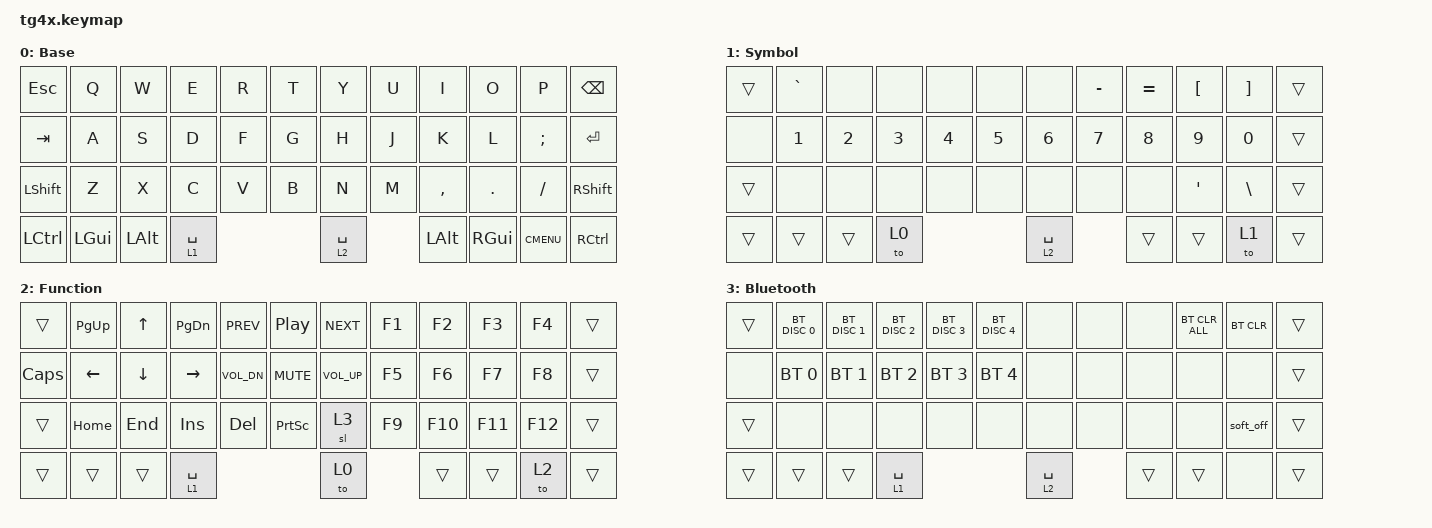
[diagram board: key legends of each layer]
/*
 * Copyright (c) 2020 The ZMK Contributors
 *
 * SPDX-License-Identifier: MIT
 */

#include <behaviors.dtsi>
#include <dt-bindings/zmk/keys.h>
#include <dt-bindings/zmk/bt.h>

/ {
    keymap {
        compatible = "zmk,keymap";

        default_layer { // Layer 0
            display-name = "Base";
            bindings = <
                &kp ESC   &kp Q        &kp W        &kp E        &kp R        &kp T        &kp Y        &kp U     &kp I     &kp O    &kp P       &kp BSPC
                &kp TAB   &kp A        &kp S        &kp D        &kp F        &kp G        &kp H        &kp J     &kp K     &kp L    &kp SEMI    &kp RET
                &kp LSHFT &kp Z        &kp X        &kp C        &kp V        &kp B        &kp N        &kp M     &kp COMMA &kp DOT  &kp SLASH   &kp RSHFT
                &kp LCTRL &kp LGUI     &kp LALT     &lt 1 SPACE                            &lt 2 SPACE            &kp LALT  &kp RGUI &kp K_CMENU &kp RCTRL
            >;
        };
        symbol { // Layer 1
            display-name = "Symbol";
            bindings = <
                &trans    &kp GRAVE    &none        &none        &none        &none        &none        &kp MINUS &kp EQUAL &kp LBKT &kp RBKT    &trans
                &none     &kp N1       &kp N2       &kp N3       &kp N4       &kp N5       &kp N6       &kp N7    &kp N8    &kp N9   &kp N0      &trans
                &trans    &none        &none        &none        &none        &none        &none        &none     &none     &kp APOS &kp BSLH    &trans
                &trans    &trans       &trans       &to 0                                  &lt 2 SPACE            &trans    &trans   &to 1       &trans
            >;
        };
        function { // Layer 2
            display-name = "Function";
            bindings = <
                &trans    &kp PG_UP    &kp UP       &kp PG_DN    &kp C_PREV   &kp C_PP     &kp C_NEXT   &kp F1    &kp F2    &kp F3   &kp F4      &trans
                &kp CAPS  &kp LEFT     &kp DOWN     &kp RIGHT    &kp C_VOL_DN &kp C_MUTE   &kp C_VOL_UP &kp F5    &kp F6    &kp F7   &kp F8      &trans
                &trans    &kp HOME     &kp END      &kp INS      &kp DEL      &kp PSCRN    &sl 3        &kp F9    &kp F10   &kp F11  &kp F12     &trans
                &trans    &trans       &trans       &lt 1 SPACE                            &to 0                  &trans    &trans   &to 2       &trans
            >;
        };
        bluetooth { // Layer 3
            display-name = "Bluetooth";
            bindings = <
                &trans    &bt BT_DISC 0 &bt BT_DISC 1 &bt BT_DISC 2 &bt BT_DISC 3 &bt BT_DISC 4 &none   &none     &none     &bt BT_CLR_ALL &bt BT_CLR &trans
                &none     &bt BT_SEL 0 &bt BT_SEL 1 &bt BT_SEL 2 &bt BT_SEL 3 &bt BT_SEL 4 &none        &none     &none     &none    &none       &trans
                &trans    &none        &none        &none        &none        &none        &none        &none     &none     &none    &soft_off   &trans
                &trans    &trans       &trans       &lt 1 SPACE                            &lt 2 SPACE            &trans    &trans   &none       &trans
            >;
        };
    };
};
